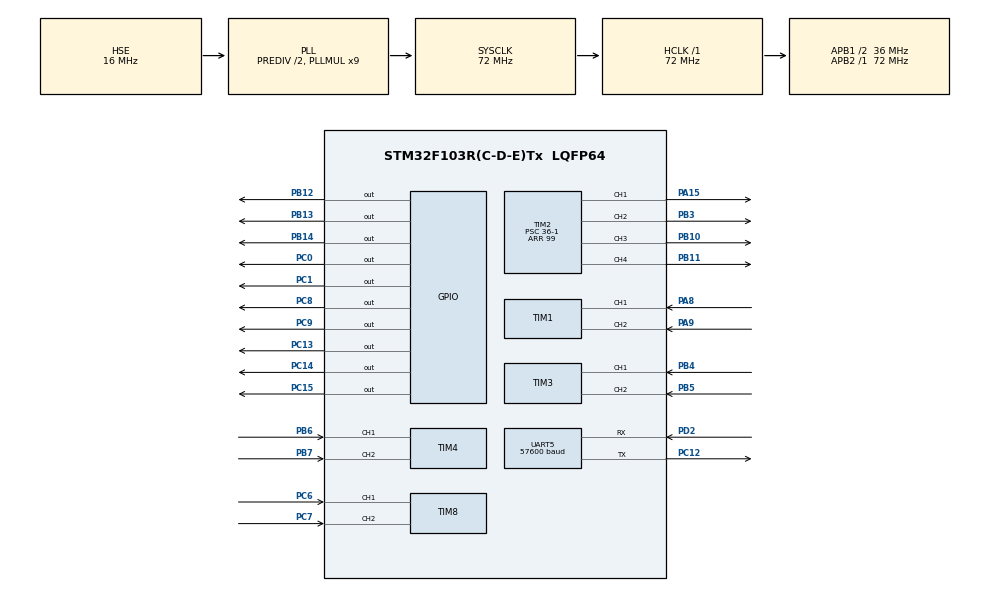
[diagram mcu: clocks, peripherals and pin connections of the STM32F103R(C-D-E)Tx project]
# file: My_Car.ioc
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FREERTOS.INCLUDE_uxTaskGetStackHighWaterMark=1
FREERTOS.INCLUDE_vTaskDelayUntil=1
FREERTOS.Tasks01=defaultTask,0,128,StartDefaultTask,Default,NULL,Dynamic,NULL,NULL;remoteTask,0,128,StartRemoteTask,Default,NULL,Dynamic,NULL,NULL;encoder_task,0,128,Start_encoder_task,Default,NULL,Dynamic,NULL,NULL
Mcu.Family=STM32F1
Mcu.Name=STM32F103R(C-D-E)Tx
Mcu.Package=LQFP64
NVIC.PriorityGroup=NVIC_PRIORITYGROUP_4
NVIC.TIM6_IRQn=true\:5\:0\:false\:false\:true\:true\:true\:true\:true
NVIC.TIM7_IRQn=true\:15\:0\:false\:false\:true\:false\:false\:true\:true
NVIC.TimeBase=TIM7_IRQn
NVIC.TimeBaseIP=TIM7
NVIC.UART5_IRQn=true\:5\:0\:false\:false\:true\:true\:true\:true\:true
PA13.Mode=Serial_Wire
PA13.Signal=SYS_JTMS-SWDIO
PA14.Mode=Serial_Wire
PA14.Signal=SYS_JTCK-SWCLK
PA15.Signal=S_TIM2_CH1_ETR
PA8.Signal=S_TIM1_CH1
PA9.Signal=S_TIM1_CH2
PB10.Signal=S_TIM2_CH3
PB11.Signal=S_TIM2_CH4
PB12.GPIO_ModeDefaultOutputPP=GPIO_MODE_OUTPUT_PP
PB12.GPIO_PuPd=GPIO_NOPULL
PB12.GPIO_Speed=GPIO_SPEED_FREQ_LOW
PB12.PinState=GPIO_PIN_RESET
PB12.Signal=GPIO_Output
PB13.GPIO_ModeDefaultOutputPP=GPIO_MODE_OUTPUT_PP
PB13.GPIO_PuPd=GPIO_NOPULL
PB13.GPIO_Speed=GPIO_SPEED_FREQ_LOW
PB13.PinState=GPIO_PIN_RESET
PB13.Signal=GPIO_Output
PB14.GPIO_ModeDefaultOutputPP=GPIO_MODE_OUTPUT_PP
PB14.GPIO_PuPd=GPIO_NOPULL
PB14.GPIO_Speed=GPIO_SPEED_FREQ_LOW
PB14.PinState=GPIO_PIN_RESET
PB14.Signal=GPIO_Output
PB3.Signal=S_TIM2_CH2
PB4.Signal=S_TIM3_CH1
PB5.Signal=S_TIM3_CH2
PB6.Signal=S_TIM4_CH1
PB7.Signal=S_TIM4_CH2
PC0.GPIO_ModeDefaultOutputPP=GPIO_MODE_OUTPUT_PP
PC0.GPIO_PuPd=GPIO_NOPULL
PC0.GPIO_Speed=GPIO_SPEED_FREQ_LOW
PC0.PinState=GPIO_PIN_RESET
PC0.Signal=GPIO_Output
PC1.GPIO_ModeDefaultOutputPP=GPIO_MODE_OUTPUT_PP
PC1.GPIO_PuPd=GPIO_NOPULL
PC1.GPIO_Speed=GPIO_SPEED_FREQ_LOW
PC1.PinState=GPIO_PIN_RESET
PC1.Signal=GPIO_Output
PC12.Mode=Asynchronous
PC12.Signal=UART5_TX
PC13-TAMPER-RTC.GPIO_ModeDefaultOutputPP=GPIO_MODE_OUTPUT_PP
PC13-TAMPER-RTC.GPIO_PuPd=GPIO_NOPULL
PC13-TAMPER-RTC.GPIO_Speed=GPIO_SPEED_FREQ_LOW
PC13-TAMPER-RTC.PinState=GPIO_PIN_RESET
PC13-TAMPER-RTC.Signal=GPIO_Output
PC14-OSC32_IN.GPIO_ModeDefaultOutputPP=GPIO_MODE_OUTPUT_PP
PC14-OSC32_IN.GPIO_PuPd=GPIO_NOPULL
PC14-OSC32_IN.GPIO_Speed=GPIO_SPEED_FREQ_LOW
PC14-OSC32_IN.PinState=GPIO_PIN_RESET
PC14-OSC32_IN.Signal=GPIO_Output
PC15-OSC32_OUT.GPIO_ModeDefaultOutputPP=GPIO_MODE_OUTPUT_PP
PC15-OSC32_OUT.GPIO_PuPd=GPIO_NOPULL
PC15-OSC32_OUT.GPIO_Speed=GPIO_SPEED_FREQ_LOW
PC15-OSC32_OUT.PinState=GPIO_PIN_RESET
PC15-OSC32_OUT.Signal=GPIO_Output
PC6.Signal=S_TIM8_CH1
PC7.Signal=S_TIM8_CH2
PC8.GPIO_ModeDefaultOutputPP=GPIO_MODE_OUTPUT_PP
PC8.GPIO_PuPd=GPIO_NOPULL
PC8.GPIO_Speed=GPIO_SPEED_FREQ_LOW
PC8.PinState=GPIO_PIN_RESET
PC8.Signal=GPIO_Output
PC9.GPIO_ModeDefaultOutputPP=GPIO_MODE_OUTPUT_PP
PC9.GPIO_PuPd=GPIO_NOPULL
PC9.GPIO_Speed=GPIO_SPEED_FREQ_LOW
PC9.PinState=GPIO_PIN_RESET
PC9.Signal=GPIO_Output
PD0-OSC_IN.Mode=HSE-External-Oscillator
PD0-OSC_IN.Signal=RCC_OSC_IN
PD1-OSC_OUT.Mode=HSE-External-Oscillator
PD1-OSC_OUT.Signal=RCC_OSC_OUT
PD2.Mode=Asynchronous
PD2.Signal=UART5_RX
ProjectManager.HeapSize=0x200
ProjectManager.StackSize=0x400
ProjectManager.TargetToolchain=MDK-ARM V5.32
RCC.AHBFreq_Value=72000000
RCC.APB1CLKDivider=RCC_HCLK_DIV2
RCC.APB1Freq_Value=36000000
RCC.APB1TimFreq_Value=72000000
RCC.APB2Freq_Value=72000000
RCC.APB2TimFreq_Value=72000000
RCC.HCLKFreq_Value=72000000
RCC.HSEDivPLL=RCC_HSE_PREDIV_DIV2
RCC.HSE_VALUE=16000000
RCC.PLLMUL=RCC_PLL_MUL9
RCC.PLLSourceVirtual=RCC_PLLSOURCE_HSE
RCC.SYSCLKFreq_VALUE=72000000
RCC.SYSCLKSource=RCC_SYSCLKSOURCE_PLLCLK
RCC.USBFreq_Value=72000000
SH.S_TIM1_CH1.0=TIM1_CH1,Encoder_Interface
SH.S_TIM1_CH2.0=TIM1_CH2,Encoder_Interface
SH.S_TIM2_CH1_ETR.0=TIM2_CH1,PWM Generation1 CH1
SH.S_TIM2_CH2.0=TIM2_CH2,PWM Generation2 CH2
SH.S_TIM2_CH3.0=TIM2_CH3,PWM Generation3 CH3
SH.S_TIM2_CH4.0=TIM2_CH4,PWM Generation4 CH4
SH.S_TIM3_CH1.0=TIM3_CH1,Encoder_Interface
SH.S_TIM3_CH2.0=TIM3_CH2,Encoder_Interface
SH.S_TIM4_CH1.0=TIM4_CH1,Encoder_Interface
SH.S_TIM4_CH2.0=TIM4_CH2,Encoder_Interface
SH.S_TIM8_CH1.0=TIM8_CH1,Encoder_Interface
SH.S_TIM8_CH2.0=TIM8_CH2,Encoder_Interface
TIM1.EncoderMode=TIM_ENCODERMODE_TI12
TIM2.Channel-PWM\ Generation1\ CH1=TIM_CHANNEL_1
TIM2.Channel-PWM\ Generation2\ CH2=TIM_CHANNEL_2
TIM2.Channel-PWM\ Generation3\ CH3=TIM_CHANNEL_3
TIM2.Channel-PWM\ Generation4\ CH4=TIM_CHANNEL_4
TIM2.Period=99
TIM2.Prescaler=36-1
TIM3.EncoderMode=TIM_ENCODERMODE_TI12
TIM4.EncoderMode=TIM_ENCODERMODE_TI12
TIM6.Period=199
TIM6.Prescaler=7199
TIM8.EncoderMode=TIM_ENCODERMODE_TI12
UART5.BaudRate=57600
UART5.Mode=MODE_RX
UART5.VirtualMode=Asynchronous
VP_FREERTOS_VS_CMSIS_V1.Mode=CMSIS_V1
VP_SYS_VS_tim7.Mode=TIM7
VP_TIM2_VS_ClockSourceINT.Mode=Internal
VP_TIM6_VS_ClockSourceINT.Mode=Enable_Timer
board=custom

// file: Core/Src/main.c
/* USER CODE BEGIN Header */
/**
  ******************************************************************************
  * @file           : main.c
  * @brief          : Main program body
  ******************************************************************************
  * @attention
  *
  * Copyright (c) 2026 STMicroelectronics.
  * All rights reserved.
  *
  * This software is licensed under terms that can be found in the LICENSE file
  * in the root directory of this software component.
  * If no LICENSE file comes with this software, it is provided AS-IS.
  *
  ******************************************************************************
  */
/* USER CODE END Header */
#include "main.h"
#include "cmsis_os.h"
#include "tim.h"
#include "usart.h"
#include "gpio.h"

/* USER CODE BEGIN Includes */

#include "motor.h"
#include "ps2_usart5.h"

/* USER CODE END Includes */

void SystemClock_Config(void);
void MX_FREERTOS_Init(void);

int main(void)
{

  /* MCU Configuration--------------------------------------------------------*/

  /* Reset of all peripherals, Initializes the Flash interface and the Systick. */
  HAL_Init();

  /* Configure the system clock */
  SystemClock_Config();

  /* Initialize all configured peripherals */
  MX_GPIO_Init();
  MX_TIM2_Init();
  MX_TIM1_Init();
  MX_TIM3_Init();
  MX_TIM4_Init();
  MX_TIM6_Init();
  MX_TIM8_Init();
  MX_UART5_Init();
  /* USER CODE BEGIN 2 */
	motor_init();
	ps2_usart5_start();

//	motor_set_pwm(0,50);
//	motor_set_pwm(1,50);//??
//	motor_set_pwm(2,50);
//	motor_set_pwm(3,50);

  /* USER CODE END 2 */

  /* Call init function for freertos objects (in cmsis_os2.c) */
  MX_FREERTOS_Init();

  /* Start scheduler */
  osKernelStart();

  /* We should never get here as control is now taken by the scheduler */

  /* Infinite loop */
  while (1)
  {

  }
}

void SystemClock_Config(void)
{
  RCC_OscInitTypeDef RCC_OscInitStruct = {0};
  RCC_ClkInitTypeDef RCC_ClkInitStruct = {0};

  /** Initializes the RCC Oscillators according to the specified parameters
  * in the RCC_OscInitTypeDef structure.
  */
  RCC_OscInitStruct.OscillatorType = RCC_OSCILLATORTYPE_HSE;
  RCC_OscInitStruct.HSEState = RCC_HSE_ON;
  RCC_OscInitStruct.HSEPredivValue = RCC_HSE_PREDIV_DIV2;
  RCC_OscInitStruct.HSIState = RCC_HSI_ON;
  RCC_OscInitStruct.PLL.PLLState = RCC_PLL_ON;
  RCC_OscInitStruct.PLL.PLLSource = RCC_PLLSOURCE_HSE;
  RCC_OscInitStruct.PLL.PLLMUL = RCC_PLL_MUL9;
  if (HAL_RCC_OscConfig(&RCC_OscInitStruct) != HAL_OK)
  {
    Error_Handler();
  }

  /** Initializes the CPU, AHB and APB buses clocks
  */
  RCC_ClkInitStruct.ClockType = RCC_CLOCKTYPE_HCLK|RCC_CLOCKTYPE_SYSCLK
                              |RCC_CLOCKTYPE_PCLK1|RCC_CLOCKTYPE_PCLK2;
  RCC_ClkInitStruct.SYSCLKSource = RCC_SYSCLKSOURCE_PLLCLK;
  RCC_ClkInitStruct.AHBCLKDivider = RCC_SYSCLK_DIV1;
  RCC_ClkInitStruct.APB1CLKDivider = RCC_HCLK_DIV2;
  RCC_ClkInitStruct.APB2CLKDivider = RCC_HCLK_DIV1;

  if (HAL_RCC_ClockConfig(&RCC_ClkInitStruct, FLASH_LATENCY_2) != HAL_OK)
  {
    Error_Handler();
  }
}

void HAL_TIM_PeriodElapsedCallback(TIM_HandleTypeDef *htim)
{
  if (htim->Instance == TIM7)
  {
    HAL_IncTick();
  }
}

void Error_Handler(void)
{
  __disable_irq();
  while (1)
  {
  }
}

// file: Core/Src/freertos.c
/* USER CODE BEGIN Header */
/**
  ******************************************************************************
  * File Name          : freertos.c
  * Description        : Code for freertos applications
  ******************************************************************************
  * @attention
  *
  * Copyright (c) 2026 STMicroelectronics.
  * All rights reserved.
  *
  * This software is licensed under terms that can be found in the LICENSE file
  * in the root directory of this software component.
  * If no LICENSE file comes with this software, it is provided AS-IS.
  *
  ******************************************************************************
  */
/* USER CODE END Header */

#include "FreeRTOS.h"
#include "task.h"
#include "main.h"
#include "cmsis_os.h"

/* USER CODE BEGIN Includes */
#include "remote.h"
#include "control.h"
#include "encoder.h"
#include "car_encoder.h"

/* USER CODE END Includes */

/* USER CODE BEGIN Variables */

volatile uint32_t remote_stack_free_words = 0;
volatile uint32_t encoder_stack_free_words = 0;

/* USER CODE END Variables */
osThreadId defaultTaskHandle;
osThreadId remoteTaskHandle;
osThreadId encoder_taskHandle;

void StartDefaultTask(void const * argument);
void StartRemoteTask(void const * argument);
void Start_encoder_task(void const * argument);

void MX_FREERTOS_Init(void); /* (MISRA C 2004 rule 8.1) */

/* GetIdleTaskMemory prototype (linked to static allocation support) */
void vApplicationGetIdleTaskMemory( StaticTask_t **ppxIdleTaskTCBBuffer, StackType_t **ppxIdleTaskStackBuffer, uint32_t *pulIdleTaskStackSize );

/* USER CODE BEGIN GET_IDLE_TASK_MEMORY */
static StaticTask_t xIdleTaskTCBBuffer;
static StackType_t xIdleStack[configMINIMAL_STACK_SIZE];

void vApplicationGetIdleTaskMemory( StaticTask_t **ppxIdleTaskTCBBuffer, StackType_t **ppxIdleTaskStackBuffer, uint32_t *pulIdleTaskStackSize )
{
  *ppxIdleTaskTCBBuffer = &xIdleTaskTCBBuffer;
  *ppxIdleTaskStackBuffer = &xIdleStack[0];
  *pulIdleTaskStackSize = configMINIMAL_STACK_SIZE;
  /* place for user code */
}
/* USER CODE END GET_IDLE_TASK_MEMORY */

void MX_FREERTOS_Init(void) {

  /* Create the thread(s) */
  /* definition and creation of defaultTask */
  osThreadDef(defaultTask, StartDefaultTask, osPriorityNormal, 0, 128);
  defaultTaskHandle = osThreadCreate(osThread(defaultTask), NULL);

  /* definition and creation of remoteTask */
  osThreadDef(remoteTask, StartRemoteTask, osPriorityNormal, 0, 128);
  remoteTaskHandle = osThreadCreate(osThread(remoteTask), NULL);

  /* definition and creation of encoder_task */
  osThreadDef(encoder_task, Start_encoder_task, osPriorityNormal, 0, 128);
  encoder_taskHandle = osThreadCreate(osThread(encoder_task), NULL);

}

void StartDefaultTask(void const * argument)
{
  for(;;)
  {
    osDelay(1);
  }
}

void StartRemoteTask(void const * argument)
{
  /* USER CODE BEGIN StartRemoteTask */
  /* Infinite loop */

 TickType_t last_check = xTaskGetTickCount();

  for (;;)
    {
        remote_poll();
        //更新目标速度
        car_control_update(car_remote);

        // 计算任务栈剩余空间，便于 Keil Watch 查看
        if ((xTaskGetTickCount() - last_check) >= pdMS_TO_TICKS(1000))
        {
            last_check = xTaskGetTickCount();
            remote_stack_free_words = uxTaskGetStackHighWaterMark(NULL);
        }

        osDelay(1);
    }

  /* USER CODE END StartRemoteTask */
}

void Start_encoder_task(void const * argument)
{
  /* USER CODE BEGIN Start_encoder_task */
  TickType_t last_wake;
  TickType_t last_stack_check;
  int32_t counts[CAR_WHEEL_COUNT];
  float speeds_mps[CAR_WHEEL_COUNT];
  int i;

  /* 从启动编码器后开始计时，首次采样等待完整的 20 ms。 */
  car_speed_control_init();
  encoder_start();
  last_wake = xTaskGetTickCount();
  last_stack_check = last_wake;

  for (;;)
  {
    //last_wake会自动更新为上次唤醒时间，保证周期性执行
    vTaskDelayUntil(&last_wake, pdMS_TO_TICKS(20U));

    /* 编码器方向已按实车校准：车轮向前转时计数为正，向后转时为负。 */
    counts[CAR_WHEEL_FRONT_LEFT]  =   read_encoder_count(&htim8);
    counts[CAR_WHEEL_FRONT_RIGHT] =  -read_encoder_count(&htim4);
    counts[CAR_WHEEL_REAR_LEFT]   =   read_encoder_count(&htim1);
    counts[CAR_WHEEL_REAR_RIGHT]  =  -read_encoder_count(&htim3);

    /* 计算反馈速度 */
    car_encoder_calculate_wheel_speeds(counts, speeds_mps);

    for (i = 0; i < CAR_WHEEL_COUNT; ++i)
    {
      encoder_wheel_counts[i] = counts[i];
      encoder_wheel_speed_mps[i] = speeds_mps[i];
    }

    /* 新的实测轮速到达后，更新四轮 PID 并输出 PWM。 */
    car_speed_control_update(car_wheel_target_mps, speeds_mps);

    //计算任务栈剩余空间，便于 Keil Watch 查看
    if ((TickType_t)(xTaskGetTickCount() - last_stack_check) >= pdMS_TO_TICKS(1000U))
    {
      last_stack_check = xTaskGetTickCount();
      encoder_stack_free_words = uxTaskGetStackHighWaterMark(NULL);
    }
  }
  /* USER CODE END Start_encoder_task */
}
